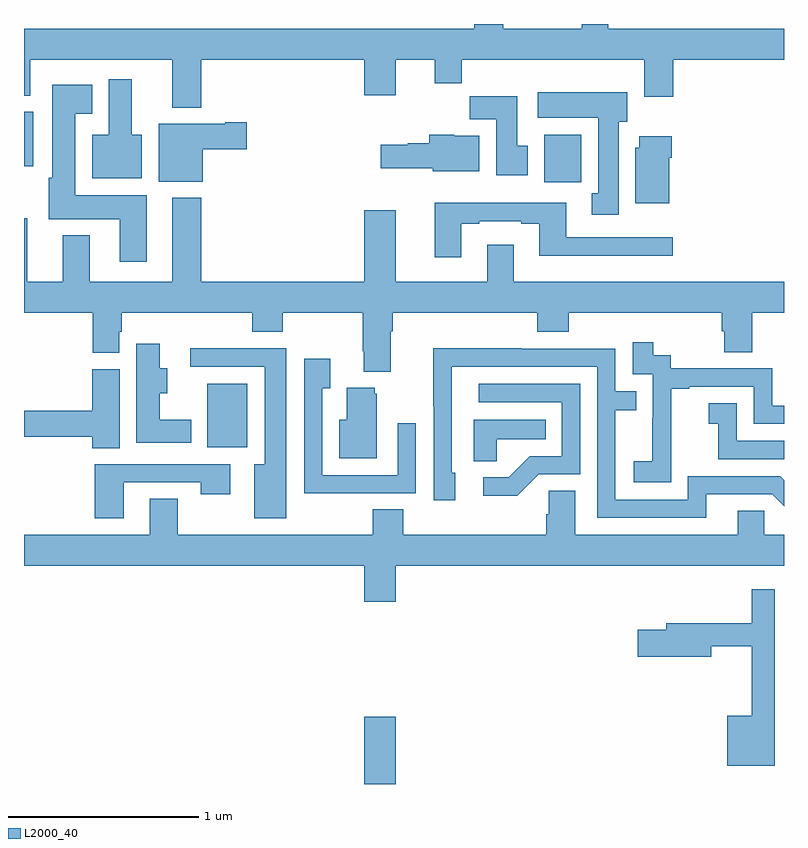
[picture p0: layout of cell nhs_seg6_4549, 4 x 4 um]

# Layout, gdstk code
import gdstk
lib = gdstk.Library(unit=1e-6, precision=1e-09)
def R(c, l, rs):  # rectangles x0, y0, x1, y1
    for r in rs: c.add(gdstk.rectangle(r[:2], r[2:], *l))
def P(c, l, *ps):  # polygons
    for p in ps: c.add(gdstk.Polygon(p, *l))
L2000_40 = (2000, 40)

nhs_seg6_4549 = lib.new_cell('nhs_seg6_4549')
R(nhs_seg6_4549, L2000_40, [(380.792,967.5,380.956,967.855), (379.964,969.272,380.176,969.607), (381.737,970.668,381.933,970.918), (379,970.752,379.048,971.038)])
P(nhs_seg6_4549, L2000_40, [(379.934,971.312),(380.792,971.312),(380.792,971.124),(380.956,971.124),(380.956,971.312),(381.161,971.312),(381.161,971.188),(381.305,971.188),(381.305,971.312),(382.265,971.312),(382.265,971.118),(382.418,971.118),(382.418,971.312),(383,971.312),(383,971.476),(382.075,971.476),(382.075,971.5),(381.935,971.5),(381.935,971.476),(381.523,971.476),(381.523,971.5),(381.371,971.5),(381.371,971.476),(379,971.476),(379,971.123),(379.033,971.123),(379.033,971.312),(379.781,971.312),(379.781,971.06),(379.934,971.06)],
  [(379.621,970.918),(379.567,970.918),(379.567,971.209),(379.445,971.209),(379.445,970.918),(379.358,970.918),(379.358,970.688),(379.621,970.688)],
  [(379.645,970.6),(379.27,970.6),(379.27,971.027),(379.36,971.027),(379.36,971.179),(379.148,971.179),(379.148,970.69),(379.13,970.69),(379.13,970.472),(379.505,970.472),(379.505,970.248),(379.645,970.248)],
  [(382.129,970.986),(382.174,970.986),(382.174,971.14),(381.705,971.14),(381.705,971.006),(382.022,971.006),(382.022,970.609),(381.989,970.609),(381.989,970.497),(382.129,970.497)],
  [(381.652,970.86),(381.595,970.86),(381.595,971.119),(381.346,971.119),(381.346,971),(381.485,971),(381.485,970.704),(381.652,970.704)],
  [(379.942,970.841),(380.173,970.841),(380.173,970.983),(380.06,970.983),(380.06,970.975),(379.709,970.975),(379.709,970.67),(379.942,970.67)],
  [(381.397,970.912),(381.264,970.912),(381.264,970.918),(381.134,970.918),(381.134,970.872),(381.02,970.872),(381.02,970.864),(380.877,970.864),(380.877,970.742),(381.15,970.742),(381.15,970.724),(381.397,970.724)],
  [(382.396,970.796),(382.409,970.796),(382.409,970.909),(382.238,970.909),(382.238,970.848),(382.217,970.848),(382.217,970.556),(382.396,970.556)],
  [(380.929,969.884),(380.942,969.884),(380.942,969.98),(381.701,969.98),(381.701,969.881),(381.866,969.881),(381.866,969.98),(382.673,969.98),(382.673,969.882),(382.685,969.882),(382.685,969.772),(382.833,969.772),(382.833,969.98),(383,969.98),(383,970.144),(381.577,970.144),(381.577,970.339),(381.437,970.339),(381.437,970.144),(380.956,970.144),(380.956,970.519),(380.792,970.519),(380.792,970.144),(379.934,970.144),(379.934,970.585),(379.781,970.585),(379.781,970.144),(379.345,970.144),(379.345,970.387),(379.205,970.387),(379.205,970.144),(379.016,970.144),(379.016,970.477),(379,970.477),(379,969.98),(379.361,969.98),(379.361,969.769),(379.501,969.769),(379.501,969.879),(379.514,969.879),(379.514,969.98),(380.201,969.98),(380.201,969.881),(380.361,969.881),(380.361,969.98),(380.782,969.98),(380.782,969.778),(380.789,969.778),(380.789,969.671),(380.929,969.671)],
  [(381.301,970.449),(381.397,970.449),(381.397,970.461),(381.617,970.461),(381.617,970.449),(381.713,970.449),(381.713,970.28),(382.414,970.28),(382.414,970.377),(381.853,970.377),(381.853,970.558),(381.161,970.558),(381.161,970.272),(381.301,970.272)],
  [(382.407,969.295),(382.406,969.295),(382.406,969.579),(382.501,969.579),(382.501,969.591),(382.842,969.591),(382.842,969.396),(383,969.396),(383,969.492),(382.938,969.492),(382.938,969.687),(382.404,969.687),(382.404,969.756),(382.312,969.756),(382.312,969.826),(382.203,969.826),(382.203,969.657),(382.308,969.657),(382.308,969.428),(382.307,969.428),(382.307,969.199),(382.209,969.199),(382.209,969.089),(382.407,969.089)],
  [(379.879,969.418),(379.714,969.418),(379.714,969.557),(379.753,969.557),(379.753,969.687),(379.714,969.687),(379.714,969.817),(379.592,969.817),(379.592,969.296),(379.879,969.296)],
  [(380.38,969.794),(379.875,969.794),(379.875,969.696),(380.267,969.696),(380.267,969.184),(380.213,969.184),(380.213,968.898),(380.38,968.898)],
  [(382.591,969.024),(382.938,969.024),(383,968.962),(383,969.1),(382.98,969.12),(382.494,969.12),(382.494,968.997),(382.113,968.997),(382.113,969.466),(382.223,969.466),(382.223,969.567),(382.113,969.567),(382.113,969.792),(381.617,969.792),(381.617,969.794),(381.154,969.794),(381.154,969.487),(381.156,969.487),(381.156,968.994),(381.271,968.994),(381.271,969.138),(381.252,969.138),(381.252,969.696),(382.017,969.696),(382.017,968.901),(382.591,968.901)],
  [(380.747,969.03),(381.063,969.03),(381.063,969.4),(380.967,969.4),(380.967,969.126),(380.571,969.126),(380.571,969.583),(380.611,969.583),(380.611,969.739),(380.475,969.739),(380.475,969.029),(380.747,969.029)],
  [(379.504,969.684),(379.358,969.684),(379.358,969.464),(379,969.464),(379,969.328),(379.358,969.328),(379.358,969.268),(379.504,969.268)],
  [(381.708,969.129),(381.927,969.129),(381.927,969.606),(381.393,969.606),(381.393,969.51),(381.831,969.51),(381.831,969.225),(381.662,969.225),(381.551,969.114),(381.417,969.114),(381.417,969.017),(381.595,969.017)],
  [(380.857,969.555),(380.846,969.555),(380.846,969.586),(380.699,969.586),(380.699,969.418),(380.66,969.418),(380.66,969.215),(380.857,969.215)],
  [(383,969.306),(382.752,969.306),(382.752,969.505),(382.605,969.505),(382.605,969.395),(382.654,969.395),(382.654,969.21),(383,969.21)],
  [(381.489,969.314),(381.746,969.314),(381.746,969.418),(381.368,969.418),(381.368,969.199),(381.489,969.199)],
  [(379.525,969.087),(379.93,969.087),(379.93,969.024),(380.086,969.024),(380.086,969.183),(379.373,969.183),(379.373,968.898),(379.525,968.898)],
  [(379.809,969.002),(379.661,969.002),(379.661,968.812),(379,968.812),(379,968.648),(380.792,968.648),(380.792,968.46),(380.956,968.46),(380.956,968.648),(383,968.648),(383,968.812),(382.896,968.812),(382.896,968.939),(382.757,968.939),(382.757,968.812),(381.901,968.812),(381.901,969.044),(381.762,969.044),(381.762,968.921),(381.749,968.921),(381.749,968.812),(380.996,968.812),(380.996,968.945),(380.836,968.945),(380.836,968.812),(379.809,968.812)],
  [(382.951,968.524),(382.83,968.524),(382.83,968.347),(382.379,968.347),(382.379,968.313),(382.23,968.313),(382.23,968.171),(382.618,968.171),(382.618,968.226),(382.83,968.226),(382.83,967.858),(382.7,967.858),(382.7,967.595),(382.951,967.595)])

lib.write_gds('nhs_seg6_4549.gds')
